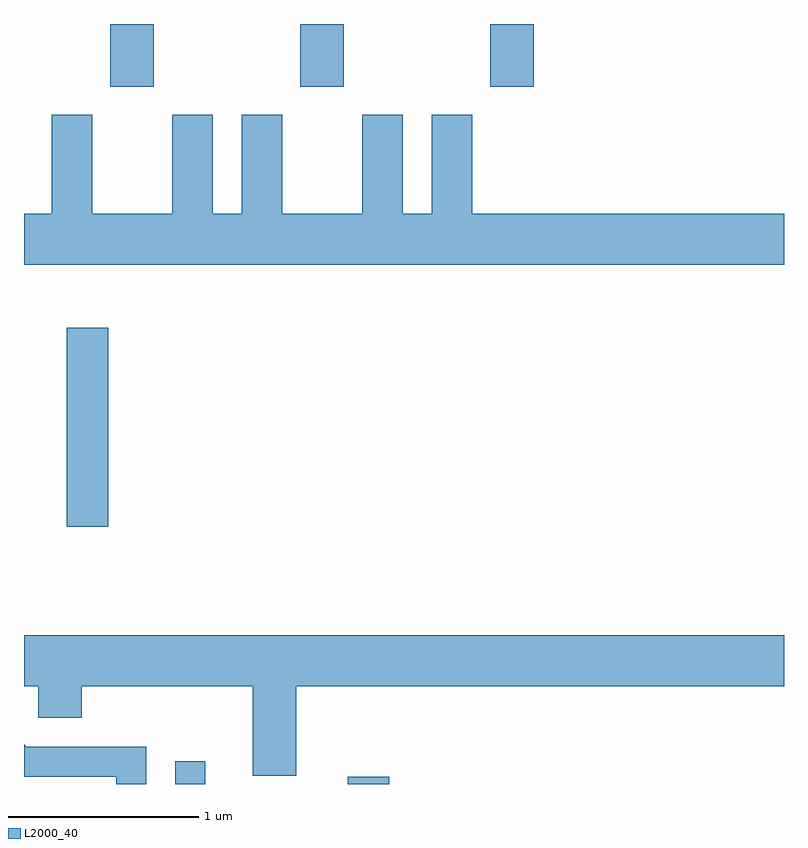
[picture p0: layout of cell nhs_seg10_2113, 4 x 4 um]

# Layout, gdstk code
import gdstk
lib = gdstk.Library(unit=1e-6, precision=1e-09)
def R(c, l, rs):  # rectangles x0, y0, x1, y1
    for r in rs: c.add(gdstk.rectangle(r[:2], r[2:], *l))
def A(c, l, x, y, w, h, nx, ny, dx, dy):  # array of equal rectangles
    R(c, l, [(x+i*dx, y+j*dy, x+i*dx+w, y+j*dy+h) for i in range(nx) for j in range(ny)])
def P(c, l, *ps):  # polygons
    for p in ps: c.add(gdstk.Polygon(p, *l))
L2000_40 = (2000, 40)

nhs_seg10_2113 = lib.new_cell('nhs_seg10_2113')
A(nhs_seg10_2113, L2000_40, 248.066, 2108.191, 0.228, 0.331, 3, 1, 1, 0)
R(nhs_seg10_2113, L2000_40, [(248.406,2104.522,248.564,2104.643), (249.316,2104.522,249.534,2104.559), (247.836,2105.876,248.054,2106.924)])
P(nhs_seg10_2113, L2000_40, [(251.611,2107.524),(249.969,2107.524),(249.969,2108.044),(249.756,2108.044),(249.756,2107.524),(249.604,2107.524),(249.604,2108.044),(249.391,2108.044),(249.391,2107.524),(248.969,2107.524),(248.969,2108.044),(248.756,2108.044),(248.756,2107.524),(248.604,2107.524),(248.604,2108.044),(248.391,2108.044),(248.391,2107.524),(247.969,2107.524),(247.969,2108.044),(247.756,2108.044),(247.756,2107.524),(247.611,2107.524),(247.611,2107.256),(251.611,2107.256)],
  [(249.044,2105.036),(251.611,2105.036),(251.611,2105.304),(247.611,2105.304),(247.611,2105.036),(247.686,2105.036),(247.686,2104.871),(247.914,2104.871),(247.914,2105.036),(248.816,2105.036),(248.816,2104.566),(249.044,2104.566)],
  [(248.254,2104.719),(247.622,2104.719),(247.611,2104.73),(247.611,2104.561),(248.096,2104.561),(248.096,2104.522),(248.254,2104.522)])

lib.write_gds('nhs_seg10_2113.gds')
